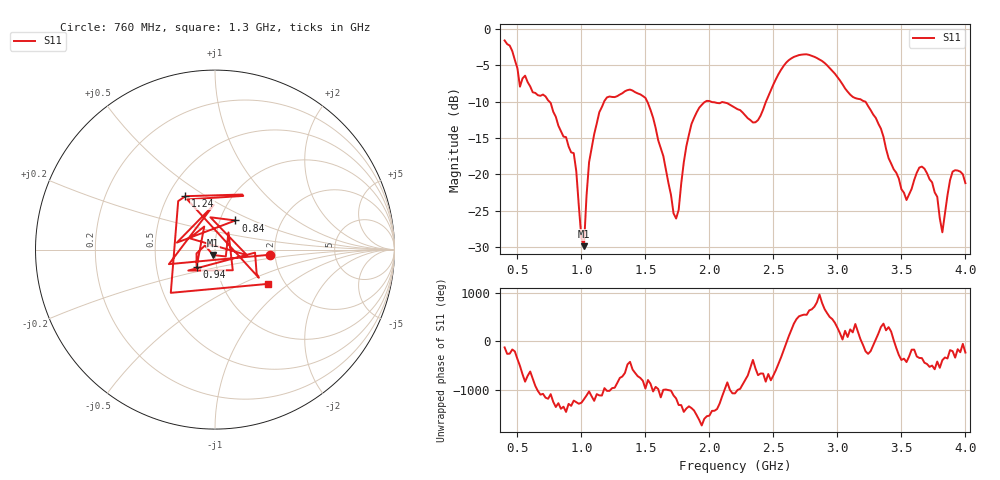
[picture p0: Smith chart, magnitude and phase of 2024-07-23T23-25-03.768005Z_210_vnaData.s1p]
!Created with skrf (http://scikit-rf.org).
# Hz S RI R 50.0
!freq ReS11 ImS11
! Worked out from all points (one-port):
!   181 points, 400 MHz to 4 GHz, reference 50 ohm
!   lowest |S11| = -29.8 dB at 1.02 GHz (marker M1), VSWR 1.07, Z = 48.9 - j2.98 ohm
!   |S11| at or under -10 dB: 1.514 GHz to 1.97 GHz (455.8 MHz wide, 26.2 % of centre); 2.01 GHz to 2.442 GHz (432.1 MHz wide, 19.4 % of centre); 3.216 GHz to end of sweep (the widest 3 of 4)
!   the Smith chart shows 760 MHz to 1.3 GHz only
!   S11 on the Smith chart (normalised r, x): 760 MHz: 1.89, -0.12; 840 MHz: 1.18, +0.40; 940 MHz: 0.80, -0.16; 1.24 GHz: 0.61, +0.41; 1.3 GHz: 1.65, -0.72
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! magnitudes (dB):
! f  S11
! 400 MHz  -1.6
! 520 MHz  -8.0
! 760 MHz  -10.2
! 840 MHz  -14.1
! 860 MHz  -14.8
! 940 MHz  -17.1
! 1 GHz  -28.8
! 1.02 GHz  -29.8
! 1.06 GHz  -18.3
! 1.1 GHz  -14.5
! 1.24 GHz  -9.4
! 1.3 GHz  -9.0
! 1.5 GHz  -9.5
! 1.72 GHz  -25.4
! 1.76 GHz  -24.9
! 1.82 GHz  -16.1
! 1.92 GHz  -10.9
! 2.2 GHz  -10.8
! 2.36 GHz  -12.8
! 2.66 GHz  -3.9
! 3.1 GHz  -9.0
! 3.3 GHz  -12.2
! 3.56 GHz  -22.8
! 3.68 GHz  -19.2
! 3.78 GHz  -23.1
! 3.82 GHz  -27.9
! 3.9 GHz  -19.6
! 4 GHz  -21.2
